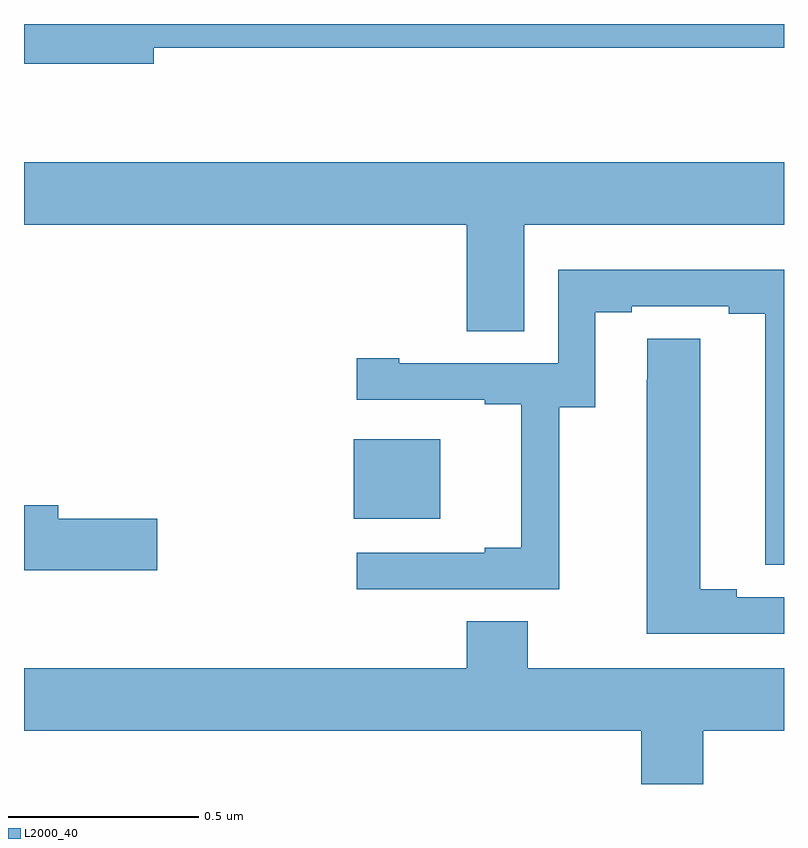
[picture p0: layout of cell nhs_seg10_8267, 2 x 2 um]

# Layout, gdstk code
import gdstk
lib = gdstk.Library(unit=1e-6, precision=1e-09)
def R(c, l, rs):  # rectangles x0, y0, x1, y1
    for r in rs: c.add(gdstk.rectangle(r[:2], r[2:], *l))
def P(c, l, *ps):  # polygons
    for p in ps: c.add(gdstk.Polygon(p, *l))
L2000_40 = (2000, 40)

nhs_seg10_8267 = lib.new_cell('nhs_seg10_8267')
R(nhs_seg10_8267, L2000_40, [(214.868,1310.198,215.095,1310.407)])
P(nhs_seg10_8267, L2000_40, [(214.342,1311.438),(216,1311.438),(216,1311.5),(214,1311.5),(214,1311.395),(214.342,1311.395)],
  [(215.317,1310.972),(216,1310.972),(216,1311.136),(214,1311.136),(214,1310.972),(215.165,1310.972),(215.165,1310.692),(215.317,1310.692)],
  [(215.409,1310.491),(215.503,1310.491),(215.503,1310.742),(215.599,1310.742),(215.599,1310.757),(215.855,1310.757),(215.855,1310.737),(215.951,1310.737),(215.951,1310.077),(216,1310.077),(216,1310.853),(215.406,1310.853),(215.406,1310.607),(214.987,1310.607),(214.987,1310.62),(214.875,1310.62),(214.875,1310.511),(215.213,1310.511),(215.213,1310.499),(215.309,1310.499),(215.309,1310.122),(215.213,1310.122),(215.213,1310.109),(214.875,1310.109),(214.875,1310.013),(215.409,1310.013)],
  [(216,1309.992),(215.875,1309.992),(215.875,1310.012),(215.779,1310.012),(215.779,1310.672),(215.64,1310.672),(215.64,1310.564),(215.639,1310.564),(215.639,1309.896),(216,1309.896)],
  [(214.351,1310.198),(214.09,1310.198),(214.09,1310.234),(214,1310.234),(214,1310.063),(214.351,1310.063)],
  [(215.788,1309.64),(216,1309.64),(216,1309.804),(215.325,1309.804),(215.325,1309.928),(215.165,1309.928),(215.165,1309.804),(214,1309.804),(214,1309.64),(215.624,1309.64),(215.624,1309.5),(215.788,1309.5)])

lib.write_gds('nhs_seg10_8267.gds')
